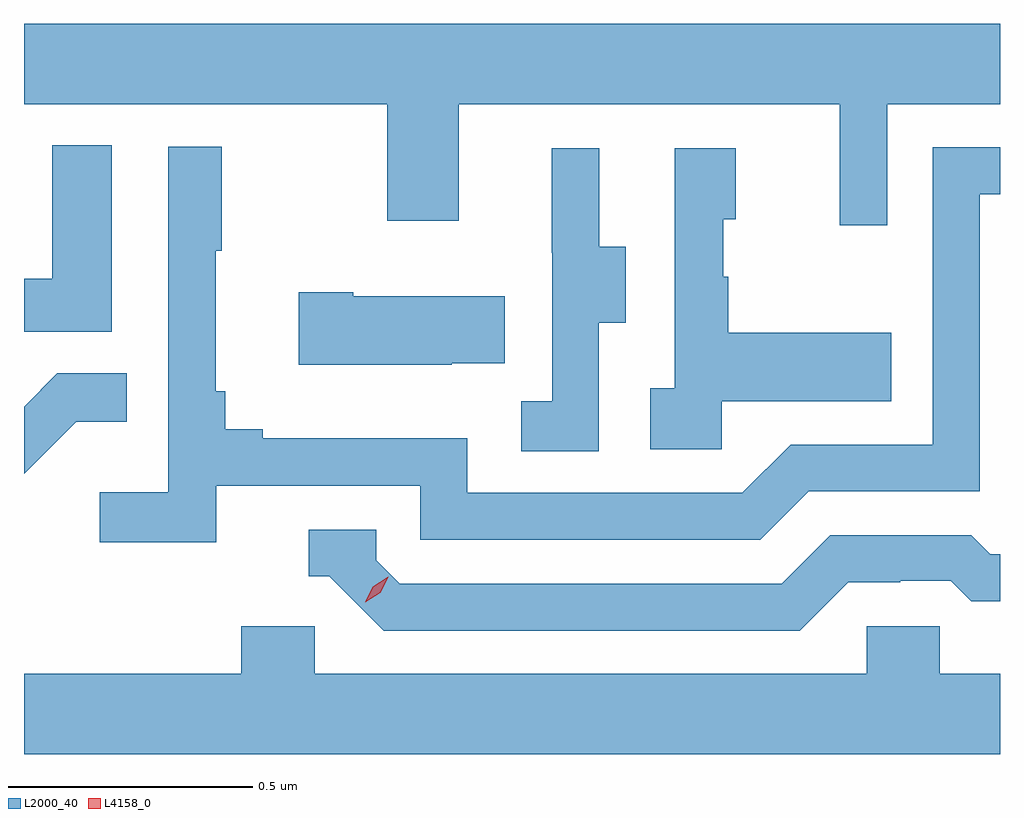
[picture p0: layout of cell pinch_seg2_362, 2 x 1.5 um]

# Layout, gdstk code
import gdstk
lib = gdstk.Library(unit=1e-6, precision=1e-09)
def P(c, l, *ps):  # polygons
    for p in ps: c.add(gdstk.Polygon(p, *l))
L2000_40 = (2000, 40)
L4158_0 = (4158, 0)

pinch_seg2_362 = lib.new_cell('pinch_seg2_362')
P(pinch_seg2_362, L2000_40, [(965.829,627.656),(966.06,627.656),(966.06,627.82),(964.06,627.82),(964.06,627.656),(964.804,627.656),(964.804,627.417),(964.951,627.417),(964.951,627.656),(965.732,627.656),(965.732,627.408),(965.829,627.408)],
  [(964.24,627.571),(964.118,627.571),(964.118,627.298),(964.06,627.298),(964.06,627.189),(964.24,627.189)],
  [(964.454,626.874),(964.872,626.874),(964.872,626.763),(965.569,626.763),(965.668,626.862),(966.018,626.862),(966.018,627.471),(966.06,627.471),(966.06,627.567),(965.922,627.567),(965.922,626.958),(965.631,626.958),(965.532,626.859),(964.968,626.859),(964.968,626.971),(964.549,626.971),(964.549,626.99),(964.472,626.99),(964.472,627.067),(964.453,627.067),(964.453,627.355),(964.465,627.355),(964.465,627.568),(964.356,627.568),(964.356,626.86),(964.215,626.86),(964.215,626.758),(964.454,626.758)],
  [(965.238,627.208),(965.293,627.208),(965.293,627.363),(965.239,627.363),(965.239,627.565),(965.141,627.565),(965.141,627.351),(965.142,627.351),(965.142,627.047),(965.079,627.047),(965.079,626.944),(965.238,626.944)],
  [(965.49,627.047),(965.837,627.047),(965.837,627.187),(965.503,627.187),(965.503,627.302),(965.493,627.302),(965.493,627.42),(965.518,627.42),(965.518,627.565),(965.394,627.565),(965.394,627.074),(965.343,627.074),(965.343,626.949),(965.49,626.949)],
  [(964.937,627.125),(965.045,627.125),(965.045,627.262),(964.735,627.262),(964.735,627.27),(964.623,627.27),(964.623,627.122),(964.937,627.122)],
  [(964.167,627.005),(964.271,627.005),(964.271,627.104),(964.128,627.104),(964.06,627.036),(964.06,626.898)],
  [(965.749,626.676),(965.856,626.676),(965.856,626.679),(965.959,626.679),(966.001,626.637),(966.06,626.637),(966.06,626.733),(966.04,626.733),(966.001,626.772),(965.712,626.772),(965.613,626.673),(964.83,626.673),(964.782,626.721),(964.782,626.784),(964.643,626.784),(964.643,626.688),(964.686,626.688),(964.797,626.577),(965.65,626.577)],
  [(966.06,626.488),(965.937,626.488),(965.937,626.586),(965.787,626.586),(965.787,626.488),(964.656,626.488),(964.656,626.586),(964.505,626.586),(964.505,626.488),(964.06,626.488),(964.06,626.324),(966.06,626.324)])
P(pinch_seg2_362, L4158_0, [(964.759,626.635),(964.759,626.635),(964.775,626.667),(964.806,626.687),(964.806,626.687),(964.806,626.686),(964.79,626.654),(964.759,626.635)])

lib.write_gds('pinch_seg2_362.gds')
